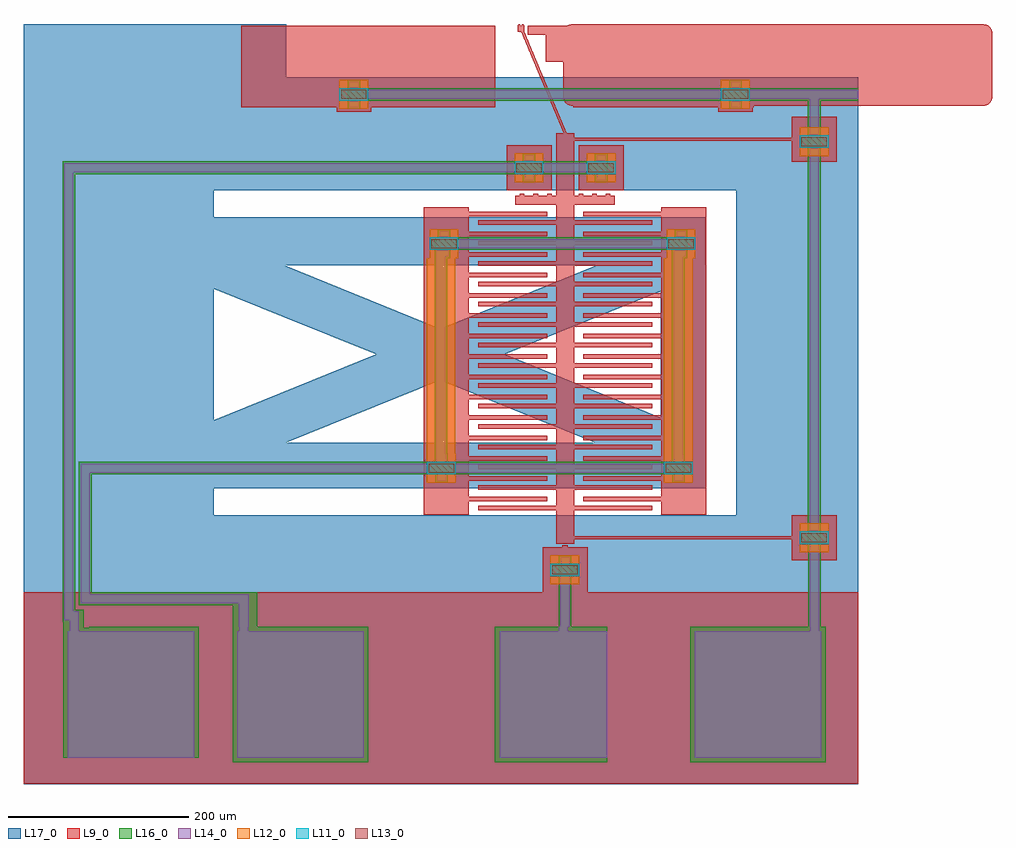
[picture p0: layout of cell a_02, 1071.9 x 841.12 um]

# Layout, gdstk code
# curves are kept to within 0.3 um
import gdstk
lib = gdstk.Library(unit=1e-6, precision=1e-09)
def R(c, l, rs):  # rectangles x0, y0, x1, y1
    for r in rs: c.add(gdstk.rectangle(r[:2], r[2:], *l))
def P(c, l, *ps):  # polygons
    for p in ps: c.add(gdstk.Polygon(p, *l))
L9_0 = (9, 0)
L11_0 = (11, 0)
L12_0 = (12, 0)
L13_0 = (13, 0)
L14_0 = (14, 0)
L16_0 = (16, 0)
L17_0 = (17, 0)

a_02 = lib.new_cell('a_02')
R(a_02, L9_0, [(-3055.861,7170.168,-3005.861,7220.268), (-2976.061,7170.168,-2926.061,7220.168)])
P(a_02, L9_0, [(-3590.22,6513.41),(-3590.22,6725.2),(-3016.061,6725.2),(-3016.061,6775.118),(-2994.061,6775.118),(-2994.061,6777.118),(-2988.061,6777.118),(-2988.061,6775.118),(-2966.061,6775.118),(-2966.061,6725.2),(-2666.59,6725.2),(-2666.59,6513.41)],
  [(-3243.72,7257.3),(-3243.72,7262.3),(-3349.72,7262.3),(-3349.72,7352.3),(-3068.62,7352.3),(-3068.62,7262.3),(-3205.72,7262.3),(-3205.72,7257.3)],
  [(-2740.261,6760.618),(-2740.261,6784.118),(-2981.061,6784.118),(-2981.061,6779.118),(-3001.061,6779.118),(-3001.061,6816.118),(-3087.461,6816.118),(-3087.461,6821.118),(-3001.061,6821.118),(-3001.061,6838.668),(-3087.461,6838.668),(-3087.461,6843.668),(-3001.061,6843.668),(-3001.061,6861.218),(-3087.461,6861.218),(-3087.461,6866.218),(-3001.061,6866.218),(-3001.061,6883.768),(-3087.461,6883.768),(-3087.461,6888.768),(-3001.061,6888.768),(-3001.061,6906.318),(-3087.461,6906.318),(-3087.461,6911.318),(-3001.061,6911.318),(-3001.061,6928.868),(-3087.461,6928.868),(-3087.461,6933.868),(-3001.061,6933.868),(-3001.061,6951.418),(-3087.461,6951.418),(-3087.461,6956.418),(-3001.061,6956.418),(-3001.061,6973.968),(-3087.461,6973.968),(-3087.461,6978.968),(-3001.061,6978.968),(-3001.061,6996.518),(-3087.461,6996.518),(-3087.461,7001.518),(-3001.061,7001.518),(-3001.061,7019.068),(-3087.461,7019.068),(-3087.461,7024.068),(-3001.061,7024.068),(-3001.061,7041.618),(-3087.461,7041.618),(-3087.461,7046.618),(-3001.061,7046.618),(-3001.061,7064.168),(-3087.461,7064.168),(-3087.461,7069.168),(-3001.061,7069.168),(-3001.061,7086.718),(-3087.461,7086.718),(-3087.461,7091.718),(-3001.061,7091.718),(-3001.061,7109.268),(-3087.461,7109.268),(-3087.461,7114.268),(-3001.061,7114.268),(-3001.061,7131.818),(-3087.461,7131.818),(-3087.461,7136.818),(-3001.061,7136.818),(-3001.061,7154.368),(-3046.061,7154.368),(-3046.061,7164.368),(-3041.061,7164.368),(-3041.061,7166.368),(-3036.061,7166.368),(-3036.061,7164.368),(-3026.061,7164.368),(-3026.061,7166.368),(-3021.061,7166.368),(-3021.061,7164.368),(-3011.061,7164.368),(-3011.061,7166.368),(-3006.061,7166.368),(-3006.061,7164.368),(-3001.061,7164.368),(-3001.061,7233.168),(-2992.686,7233.168),(-3039.57,7345.8),(-3043.32,7345.8),(-3043.316,7352.651),(-3042.651,7353.657),(-3041.319,7353.549),(-3040.82,7352.3),(-3039.32,7352.3),(-3038.936,7353.452),(-3037.82,7353.775),(-3037.041,7353.26),(-3036.82,7352.3),(-3036.32,7352.3),(-3036.32,7345.8),(-2989.436,7233.168),(-2981.061,7233.168),(-2981.061,7228.168),(-2740.261,7228.168),(-2740.261,7251.668),(-2690.261,7251.668),(-2690.261,7201.668),(-2740.261,7201.668),(-2740.261,7225.168),(-2981.061,7225.168),(-2981.061,7164.368),(-2976.061,7164.368),(-2976.061,7166.368),(-2971.061,7166.368),(-2971.061,7164.368),(-2961.061,7164.368),(-2961.061,7166.368),(-2956.061,7166.368),(-2956.061,7164.368),(-2946.061,7164.368),(-2946.061,7166.368),(-2941.061,7166.368),(-2941.061,7164.368),(-2936.061,7164.368),(-2936.061,7154.368),(-2981.061,7154.368),(-2981.061,7136.818),(-2894.661,7136.818),(-2894.661,7131.818),(-2981.061,7131.818),(-2981.061,7114.268),(-2894.661,7114.268),(-2894.661,7109.268),(-2981.061,7109.268),(-2981.061,7091.718),(-2894.661,7091.718),(-2894.661,7086.718),(-2981.061,7086.718),(-2981.061,7069.168),(-2894.661,7069.168),(-2894.661,7064.168),(-2981.061,7064.168),(-2981.061,7046.618),(-2894.661,7046.618),(-2894.661,7041.618),(-2981.061,7041.618),(-2981.061,7024.068),(-2894.661,7024.068),(-2894.661,7019.068),(-2981.061,7019.068),(-2981.061,7001.518),(-2894.661,7001.518),(-2894.661,6996.518),(-2981.061,6996.518),(-2981.061,6978.968),(-2894.661,6978.968),(-2894.661,6973.968),(-2981.061,6973.968),(-2981.061,6956.418),(-2894.661,6956.418),(-2894.661,6951.418),(-2981.061,6951.418),(-2981.061,6933.868),(-2894.661,6933.868),(-2894.661,6928.868),(-2981.061,6928.868),(-2981.061,6911.318),(-2894.661,6911.318),(-2894.661,6906.318),(-2981.061,6906.318),(-2981.061,6888.768),(-2894.661,6888.768),(-2894.661,6883.768),(-2981.061,6883.768),(-2981.061,6866.218),(-2894.661,6866.218),(-2894.661,6861.218),(-2981.061,6861.218),(-2981.061,6843.668),(-2894.661,6843.668),(-2894.661,6838.668),(-2981.061,6838.668),(-2981.061,6821.118),(-2894.661,6821.118),(-2894.661,6816.118),(-2981.061,6816.118),(-2981.061,6787.118),(-2740.261,6787.118),(-2740.261,6810.618),(-2690.261,6810.618),(-2690.261,6760.618)],
  [(-2821.42,7257.3),(-2821.42,7262.3),(-2982.32,7262.3),(-2982.32,7263.8),(-2985.775,7264.106),(-2989.462,7265.909),(-2991.692,7268.331),(-2993.014,7271.345),(-2993.32,7312.3),(-3012.32,7312.3),(-3012.32,7342.3),(-3032.32,7342.3),(-3032.32,7352.3),(-2988.574,7352.3),(-2985.775,7353.494),(-2983.32,7353.8),(-2528.32,7353.8),(-2525.073,7353.258),(-2522.178,7351.691),(-2519.948,7349.269),(-2518.626,7346.255),(-2518.354,7272.974),(-2519.162,7269.783),(-2520.963,7267.027),(-2522.851,7265.428),(-2525.865,7264.106),(-2528.32,7263.8),(-2782.32,7263.8),(-2782.32,7262.3),(-2783.42,7262.3),(-2783.42,7257.3)],
  [(-3147.461,6811.118),(-3147.461,7151.618),(-3097.461,7151.618),(-3097.461,7146.618),(-3011.061,7146.618),(-3011.061,7141.618),(-3097.461,7141.618),(-3097.461,7124.068),(-3011.061,7124.068),(-3011.061,7119.068),(-3097.461,7119.068),(-3097.461,7101.518),(-3011.061,7101.518),(-3011.061,7096.518),(-3097.461,7096.518),(-3097.461,7078.968),(-3011.061,7078.968),(-3011.061,7073.968),(-3097.461,7073.968),(-3097.461,7056.418),(-3011.061,7056.418),(-3011.061,7051.418),(-3097.461,7051.418),(-3097.461,7033.868),(-3011.061,7033.868),(-3011.061,7028.868),(-3097.461,7028.868),(-3097.461,7011.318),(-3011.061,7011.318),(-3011.061,7006.318),(-3097.461,7006.318),(-3097.461,6988.768),(-3011.061,6988.768),(-3011.061,6983.768),(-3097.461,6983.768),(-3097.461,6966.218),(-3011.061,6966.218),(-3011.061,6961.218),(-3097.461,6961.218),(-3097.461,6943.668),(-3011.061,6943.668),(-3011.061,6938.668),(-3097.461,6938.668),(-3097.461,6921.118),(-3011.061,6921.118),(-3011.061,6916.118),(-3097.461,6916.118),(-3097.461,6898.568),(-3011.061,6898.568),(-3011.061,6893.568),(-3097.461,6893.568),(-3097.461,6876.018),(-3011.061,6876.018),(-3011.061,6871.018),(-3097.461,6871.018),(-3097.461,6853.468),(-3011.061,6853.468),(-3011.061,6848.468),(-3097.461,6848.468),(-3097.461,6830.918),(-3011.061,6830.918),(-3011.061,6825.918),(-3097.461,6825.918),(-3097.461,6811.118)],
  [(-2884.661,6811.118),(-2884.661,6825.918),(-2971.061,6825.918),(-2971.061,6830.918),(-2884.661,6830.918),(-2884.661,6848.468),(-2971.061,6848.468),(-2971.061,6853.468),(-2884.661,6853.468),(-2884.661,6871.018),(-2971.061,6871.018),(-2971.061,6876.018),(-2884.661,6876.018),(-2884.661,6893.568),(-2971.061,6893.568),(-2971.061,6898.568),(-2884.661,6898.568),(-2884.661,6916.118),(-2971.061,6916.118),(-2971.061,6921.118),(-2884.661,6921.118),(-2884.661,6938.668),(-2971.061,6938.668),(-2971.061,6943.668),(-2884.661,6943.668),(-2884.661,6961.218),(-2971.061,6961.218),(-2971.061,6966.218),(-2884.661,6966.218),(-2884.661,6983.768),(-2971.061,6983.768),(-2971.061,6988.768),(-2884.661,6988.768),(-2884.661,7006.318),(-2971.061,7006.318),(-2971.061,7011.318),(-2884.661,7011.318),(-2884.661,7028.868),(-2971.061,7028.868),(-2971.061,7033.868),(-2884.661,7033.868),(-2884.661,7051.418),(-2971.061,7051.418),(-2971.061,7056.418),(-2884.661,7056.418),(-2884.661,7073.968),(-2971.061,7073.968),(-2971.061,7078.968),(-2884.661,7078.968),(-2884.661,7096.518),(-2971.061,7096.518),(-2971.061,7101.518),(-2884.661,7101.518),(-2884.661,7119.068),(-2971.061,7119.068),(-2971.061,7124.068),(-2884.661,7124.068),(-2884.661,7141.618),(-2971.061,7141.618),(-2971.061,7146.618),(-2884.661,7146.618),(-2884.661,7151.618),(-2834.661,7151.618),(-2834.661,6811.118)])
R(a_02, L11_0, [(-3007.261,6743.118,-2975.261,6757.118), (-2731.461,6778.618,-2699.461,6792.618), (-3143.92,6855.7,-3111.92,6869.7), (-2881.62,6855.7,-2849.62,6869.7), (-3141.12,7104.1,-3109.12,7118.1), (-2878.82,7104.1,-2846.82,7118.1), (-3047.061,7188.168,-3015.061,7202.168), (-2967.261,7188.168,-2935.261,7202.168), (-2731.461,7217,-2699.461,7231), (-3240.92,7269.3,-3208.92,7283.3), (-2818.62,7269.3,-2786.62,7283.3)])
R(a_02, L12_0, [(-3007.261,6734.118,-2975.261,6766.118), (-2731.461,6769.618,-2699.461,6801.618), (-3047.061,7179.168,-3015.061,7211.168), (-2967.261,7179.168,-2935.261,7211.168), (-2731.461,7208,-2699.461,7240), (-3240.92,7260.3,-3208.92,7292.3), (-2818.62,7260.3,-2786.62,7292.3)])
P(a_02, L12_0, [(-3143.92,6846.7),(-3143.92,6878.7),(-3144.42,6878.7),(-3144.42,7095.1),(-3141.12,7095.1),(-3141.12,7127.1),(-3109.12,7127.1),(-3109.12,7095.1),(-3112.42,7095.1),(-3112.42,6878.7),(-3111.92,6878.7),(-3111.92,6846.7)],
  [(-2881.62,6846.7),(-2881.62,7095.1),(-2878.82,7095.1),(-2878.82,7127.1),(-2846.82,7127.1),(-2846.82,7095.1),(-2849.62,7095.1),(-2849.62,6846.7)])
R(a_02, L13_0, [(-3005.261,6745.118,-2977.261,6755.118), (-2729.461,6780.618,-2701.461,6790.618), (-3141.92,6857.7,-3113.92,6867.7), (-2879.62,6857.7,-2851.62,6867.7), (-3139.12,7106.1,-3111.12,7116.1), (-2876.82,7106.1,-2848.82,7116.1), (-3045.061,7190.168,-3017.061,7200.168), (-2965.261,7190.168,-2937.261,7200.168), (-2729.461,7219,-2701.461,7229), (-3238.92,7271.3,-3210.92,7281.3), (-2816.62,7271.3,-2788.62,7281.3)])
R(a_02, L14_0, [(-3539.14,6685.88,-3529.12,6704.1), (-2996.19,6687.07,-2986.19,6742.44), (-2720.05,6687.07,-2710.05,6771.76)])
P(a_02, L14_0, [(-3063.661,6542.1),(-3063.661,6682.1),(-2998.32,6682.1),(-2998.32,6687.1),(-2988.32,6687.1),(-2988.32,6682.1),(-2944.49,6682.1),(-2944.49,6542.1)],
  [(-3353.7,6542.1),(-3353.7,6682.1),(-3351.7,6682.1),(-3351.7,6687.1),(-3341.7,6687.1),(-3341.7,6682.1),(-3213.7,6682.1),(-3213.7,6542.1)],
  [(-3541.51,6542.1),(-3541.51,6682.1),(-3539.11,6682.1),(-3539.11,6685.88),(-3529.11,6685.88),(-3529.11,6682.1),(-3401.51,6682.1),(-3401.51,6542.1)],
  [(-2720.261,6771.618),(-2720.261,7271.3),(-2797.42,7271.3),(-2797.42,7262.3),(-2807.42,7262.3),(-2807.42,7271.3),(-3219.72,7271.3),(-3219.72,7262.3),(-3229.72,7262.3),(-3229.72,7290.3),(-3219.72,7290.3),(-3219.72,7281.3),(-2807.42,7281.3),(-2807.42,7290.3),(-2797.42,7290.3),(-2797.42,7281.3),(-2666.59,7281.3),(-2666.59,7271.3),(-2710.261,7271.3),(-2710.261,6790.618),(-2710.27,6790.618),(-2710.27,6780.618),(-2710.261,6780.618),(-2710.261,6771.618)],
  [(-3545.22,6694.1),(-3545.22,7200.2),(-3035.861,7200.2),(-3035.861,7209.168),(-3025.861,7209.168),(-3025.861,7200.168),(-2956.061,7200.168),(-2956.061,7209.168),(-2946.061,7209.168),(-2946.061,7181.168),(-2956.061,7181.168),(-2956.061,7190.168),(-3025.861,7190.168),(-3025.861,7181.168),(-3035.861,7181.168),(-3035.861,7190.2),(-3535.22,7190.2),(-3535.22,6704.1),(-3529.12,6704.1),(-3529.12,6694.1)],
  [(-3352.1,6687.12),(-3352.1,6713.1),(-3527.12,6713.1),(-3527.12,6867.7),(-3133.62,6867.7),(-3133.62,6857.7),(-3517.12,6857.7),(-3517.12,6723.1),(-3341.06,6723.1),(-3341.06,6687.12)],
  [(-2996.061,6736.118),(-2996.061,6764.118),(-2986.061,6764.118),(-2986.061,6755.118),(-2986.06,6755.118),(-2986.06,6745.118),(-2986.061,6745.118),(-2986.061,6736.118)],
  [(-2847.81,6542.1),(-2847.81,6682.1),(-2719.81,6682.1),(-2719.81,6687.1),(-2709.81,6687.1),(-2709.81,6682.1),(-2707.81,6682.1),(-2707.81,6542.1)],
  [(-3132.72,6848.7),(-3132.72,6857.7),(-3133.579,6857.7),(-3133.579,7106.1),(-3119.92,7106.1),(-3119.92,7097.1),(-3123.579,7097.1),(-3123.579,6876.7),(-3122.72,6876.7),(-3122.72,6867.7),(-2870.779,6867.7),(-2870.779,7106.1),(-3133.579,7106.1),(-3133.579,7116.1),(-3129.92,7116.1),(-3129.92,7125.1),(-3119.92,7125.1),(-3119.92,7116.1),(-2867.62,7116.1),(-2867.62,7125.1),(-2857.62,7125.1),(-2857.62,7097.1),(-2860.779,7097.1),(-2860.779,6876.7),(-2860.42,6876.7),(-2860.42,6848.7),(-2870.42,6848.7),(-2870.42,6857.7),(-3122.72,6857.7),(-3122.72,6848.7)])
R(a_02, L16_0, [(-3358.7,6537.1,-3297.95,6542.11), (-3068.661,6537.1,-2944.49,6687.1), (-2763.56,6537.1,-2702.81,6542.11), (-3546.51,6685.88,-3523.91,6705.73), (-2998.19,6686.47,-2984.19,6742.44), (-2722.05,6686.47,-2708.05,6769.64), (-3358.7,6687.1,-3331.85,6710.55)])
P(a_02, L16_0, [(-3297.95,6537.1),(-3297.95,6542.1),(-3358.7,6542.1),(-3358.7,6687.1),(-3208.7,6687.1),(-3208.7,6537.1)],
  [(-3546.51,6542.1),(-3546.51,6685.88),(-3517.5,6685.88),(-3517.5,6687.1),(-3396.51,6687.1),(-3396.51,6542.1)],
  [(-2722.261,6769.618),(-2722.261,7269.3),(-2795.42,7269.3),(-2795.42,7260.3),(-2809.42,7260.3),(-2809.42,7269.3),(-3217.72,7269.3),(-3217.72,7260.3),(-3231.72,7260.3),(-3231.72,7292.3),(-3217.72,7292.3),(-3217.72,7283.3),(-2809.42,7283.3),(-2809.42,7292.3),(-2795.42,7292.3),(-2795.42,7283.3),(-2666.59,7283.3),(-2666.59,7269.3),(-2708.261,7269.3),(-2708.261,6792.618),(-2708.24,6792.618),(-2708.24,6778.618),(-2708.261,6778.618),(-2708.261,6769.618)],
  [(-3547.22,6692),(-3547.22,7202.2),(-3037.861,7202.2),(-3037.861,7211.168),(-3023.861,7211.168),(-3023.861,7202.2),(-3005.02,7202.2),(-3005.02,7202.168),(-2958.061,7202.168),(-2958.061,7211.168),(-2944.061,7211.168),(-2944.061,7179.168),(-2958.061,7179.168),(-2958.061,7188.168),(-3023.861,7188.168),(-3023.861,7179.168),(-3037.861,7179.168),(-3037.861,7188.2),(-3533.22,7188.2),(-3533.22,6706),(-3527.91,6706),(-3527.91,6692)],
  [(-3358.71,6710.55),(-3358.71,6711.1),(-3529.12,6711.1),(-3529.12,6869.7),(-3135.579,6869.7),(-3135.579,7104.1),(-3117.92,7104.1),(-3117.92,7095.1),(-3121.579,7095.1),(-3121.579,6878.7),(-3120.72,6878.7),(-3120.72,6869.7),(-2872.779,6869.7),(-2872.779,7104.1),(-3135.579,7104.1),(-3135.579,7118.1),(-3131.92,7118.1),(-3131.92,7127.1),(-3117.92,7127.1),(-3117.92,7118.1),(-2869.62,7118.1),(-2869.62,7127.1),(-2855.62,7127.1),(-2855.62,7095.1),(-2858.779,7095.1),(-2858.779,6878.7),(-2858.42,6878.7),(-2858.42,6846.7),(-2872.42,6846.7),(-2872.42,6855.7),(-3120.72,6855.7),(-3120.72,6846.7),(-3134.72,6846.7),(-3134.72,6855.7),(-3515.12,6855.7),(-3515.12,6725.1),(-3331.85,6725.1),(-3331.85,6710.55)],
  [(-2852.81,6537.1),(-2852.81,6687.1),(-2702.81,6687.1),(-2702.81,6542.1),(-2763.56,6542.1),(-2763.56,6537.1)],
  [(-2998.061,6734.118),(-2998.061,6766.118),(-2984.061,6766.118),(-2984.061,6757.118),(-2975.65,6757.118),(-2975.65,6743.118),(-2984.061,6743.118),(-2984.061,6734.118)])
P(a_02, L17_0, [(-3590.22,6513.1),(-3590.22,7061.125),(-3379.72,7061.125),(-3379.72,6915.895),(-3271,6959.821),(-3128.985,6959.821),(-3300.314,6890.6),(-2957.657,6890.6),(-3128.985,6959.821),(-3271,6959.821),(-3199.992,6988.51),(-3379.72,7061.125),(-3590.22,7061.125),(-3590.22,7087),(-3301.749,7087),(-3128.985,7017.199),(-3027.137,7058.348),(-2885.12,7058.348),(-3057.977,6988.51),(-2885.12,6918.671),(-2885.12,7058.348),(-3027.137,7058.348),(-2956.221,7087),(-3590.22,7087),(-3590.22,7170.2),(-3379.72,7170.2),(-3379.72,7140.2),(-2835.22,7140.2),(-2835.22,7087),(-2834.72,7087),(-2834.72,6840.6),(-3379.72,6840.6),(-3379.72,6810.6),(-2801.82,6810.6),(-2801.82,7170.2),(-3590.22,7170.2),(-3590.22,7354.22),(-3299.72,7354.22),(-3299.72,7295.3),(-2666.59,7295.3),(-2666.59,6513.1)])

lib.write_gds('a_02.gds')
